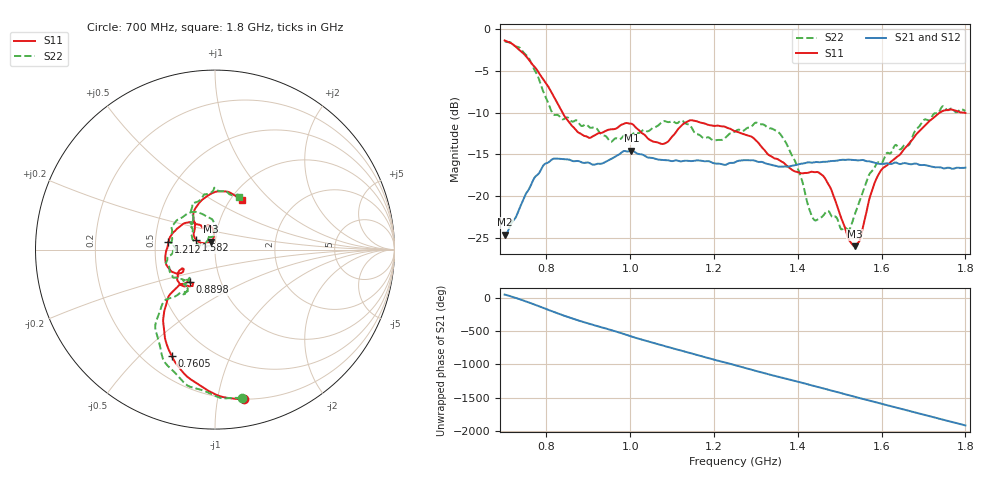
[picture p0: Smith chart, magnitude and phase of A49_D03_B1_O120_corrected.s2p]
! Created with skrf 1.9.0 (http://scikit-rf.org).
# Hz S RI R 50.0
!freq ReS11 ImS11 ReS21 ImS21 ReS12 ImS12 ReS22 ImS22
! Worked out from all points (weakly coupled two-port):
!   1601 points, 700 MHz to 1.8 GHz, reference 50 ohm
!   highest |S21| = -14.53 dB at 1.002 GHz (marker M1); lowest = -24.5 dB at 701.4 MHz (marker M2)
!   lowest |S11| = -25.9 dB at 1.535 GHz (marker M3), VSWR 1.11, Z = 47.5 + j4.24 ohm
!   |S11| at or under -10 dB: 838.1 MHz to 1.739 GHz (900.9 MHz wide, 69.9 % of centre); 1.79387 GHz to end of sweep
!   |S22| runs from -24.0 to -1.5 dB; largest |S21 - S12| = 0.0034
!   S11 on the Smith chart (normalised r, x): 700 MHz: 0.20, -1.19; 760.5 MHz: 0.31, -0.62; 889.8 MHz: 0.71, -0.27; 1.212 GHz: 0.59, +0.05; 1.582 GHz: 0.80, +0.09; 1.8 GHz: 1.12, +0.69
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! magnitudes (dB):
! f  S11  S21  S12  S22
! 700 MHz  -1.4  -24.5  -24.3  -1.5
! 701.4 MHz  -1.4  -24.5  -24.2  -1.5
! 760.5 MHz  -3.9  -18.9  -18.8  -3.8
! 815.5 MHz  -7.9  -15.5  -15.6  -10.2
! 883.6 MHz  -12.6  -15.9  -15.8  -11.6
! 889.8 MHz  -12.8  -16.0  -15.9  -11.5
! 953 MHz  -12.0  -15.6  -15.6  -13.5
! 1.002 GHz  -11.3  -14.5  -14.6  -12.7
! 1.067 GHz  -13.6  -15.6  -15.5  -11.5
! 1.142 GHz  -10.9  -15.8  -15.8  -11.5
! 1.212 GHz  -11.6  -16.1  -16.1  -13.3
! 1.25 GHz  -12.2  -15.9  -15.9  -12.3
! 1.357 GHz  -15.7  -16.5  -16.4  -12.5
! 1.396 GHz  -17.0  -16.2  -16.2  -16.1
! 1.434 GHz  -17.1  -16.0  -15.9  -22.3
! 1.471 GHz  -18.4  -15.9  -15.8  -21.7
! 1.506 GHz  -22.9  -15.6  -15.6  -23.9
! 1.535 GHz  -25.9  -15.7  -15.7  -22.3
! 1.582 GHz  -18.5  -16.0  -16.0  -16.7
! 1.617 GHz  -16.1  -16.1  -16.1  -14.9
! 1.738 GHz  -10.0  -16.5  -16.6  -9.8
! 1.8 GHz  -10.0  -16.6  -16.6  -9.8
